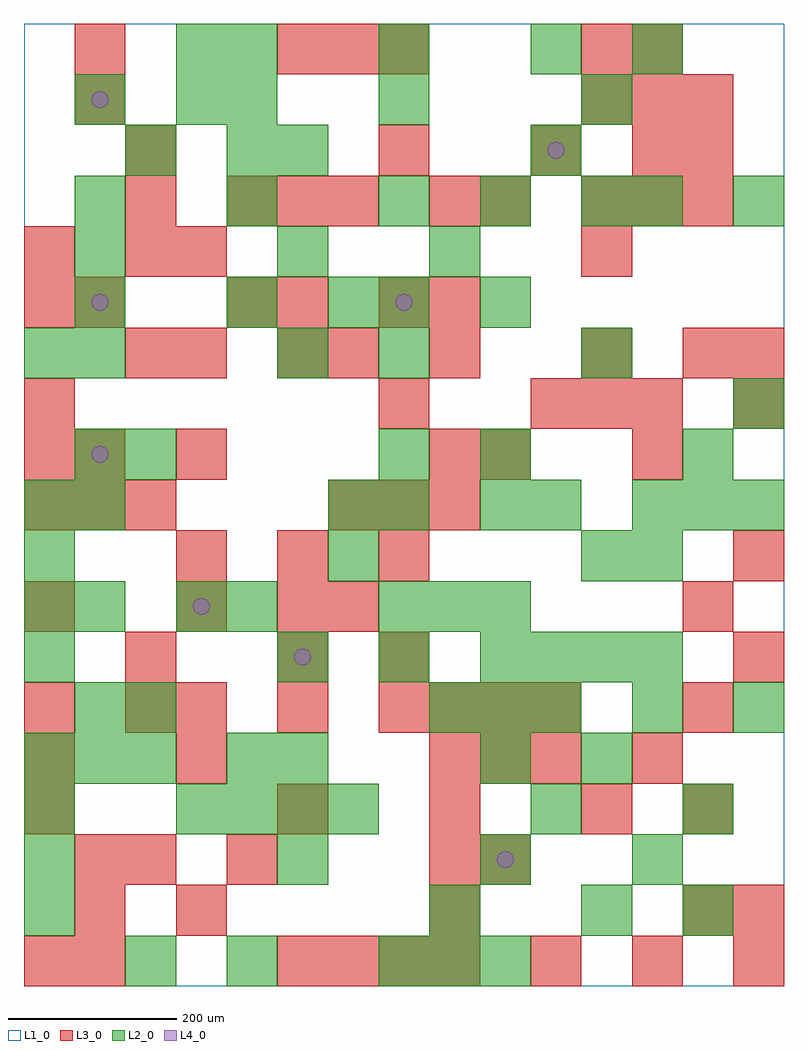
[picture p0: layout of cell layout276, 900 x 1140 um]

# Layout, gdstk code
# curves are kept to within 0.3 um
import gdstk
lib = gdstk.Library(unit=1e-6, precision=1e-09)
def R(c, l, rs):  # rectangles x0, y0, x1, y1
    for r in rs: c.add(gdstk.rectangle(r[:2], r[2:], *l))
def A(c, l, x, y, w, h, nx, ny, dx, dy):  # array of equal rectangles
    R(c, l, [(x+i*dx, y+j*dy, x+i*dx+w, y+j*dy+h) for i in range(nx) for j in range(ny)])
def P(c, l, *ps):  # polygons
    for p in ps: c.add(gdstk.Polygon(p, *l))
L1_0 = (1, 0)
L2_0 = (2, 0)
L3_0 = (3, 0)
L4_0 = (4, 0)

layout276 = lib.new_cell('layout276')
R(layout276, L1_0, [(0,0,900,1140)])
A(layout276, L2_0, 120, 0, 60, 60, 1, 3, 0, 300)
A(layout276, L2_0, 420, 0, 60, 60, 3, 2, 60, 420)
A(layout276, L2_0, 0, 60, 60, 60, 1, 3, 0, 60)
A(layout276, L2_0, 720, 120, 60, 60, 1, 3, 0, 180)
A(layout276, L2_0, 180, 180, 60, 60, 4, 1, 60, 0)
A(layout276, L2_0, 0, 240, 60, 60, 3, 1, 60, 0)
A(layout276, L2_0, 660, 240, 60, 60, 1, 3, 0, 240)
A(layout276, L2_0, 60, 300, 60, 60, 1, 3, 0, 120)
A(layout276, L2_0, 480, 300, 60, 60, 3, 1, 60, 0)
A(layout276, L2_0, 0, 360, 60, 60, 1, 4, 0, 60)
A(layout276, L2_0, 300, 360, 60, 60, 3, 1, 120, 0)
A(layout276, L2_0, 600, 360, 60, 60, 3, 1, 60, 0)
A(layout276, L2_0, 720, 540, 60, 60, 3, 1, 60, 0)
A(layout276, L2_0, 60, 720, 60, 60, 1, 3, 0, 60)
A(layout276, L2_0, 300, 720, 60, 60, 1, 3, 0, 120)
A(layout276, L2_0, 60, 900, 60, 60, 3, 1, 180, 0)
A(layout276, L2_0, 240, 1080, 60, 60, 3, 1, 180, 0)
R(layout276, L2_0, [(240,0,300,60), (480,60,540,120), (660,60,720,120), (780,60,840,120), (300,120,360,180), (540,120,600,180), (600,180,660,240), (780,180,840,240), (240,240,300,300), (300,240,360,300), (540,240,600,300), (840,300,900,360), (180,420,240,480), (240,420,300,480), (360,480,420,540), (360,540,420,600), (420,540,480,600), (540,540,600,600), (600,540,660,600), (60,600,120,660), (420,600,480,660), (540,600,600,660), (780,600,840,660), (840,660,900,720), (0,720,60,780), (420,720,480,780), (240,780,300,840), (360,780,420,840), (420,780,480,840), (540,780,600,840), (480,840,540,900), (540,900,600,960), (660,900,720,960), (720,900,780,960), (840,900,900,960), (120,960,180,1020), (240,960,300,1020), (600,960,660,1020), (60,1020,120,1080), (180,1020,240,1080), (240,1020,300,1080), (420,1020,480,1080), (660,1020,720,1080), (180,1080,240,1140), (720,1080,780,1140)])
A(layout276, L3_0, 60, 0, 60, 60, 1, 3, 0, 60)
A(layout276, L3_0, 300, 0, 60, 60, 4, 1, 60, 0)
A(layout276, L3_0, 600, 0, 60, 60, 3, 1, 120, 0)
A(layout276, L3_0, 180, 60, 60, 60, 3, 1, 300, 0)
A(layout276, L3_0, 0, 180, 60, 60, 1, 3, 0, 60)
A(layout276, L3_0, 300, 180, 60, 60, 3, 1, 180, 0)
A(layout276, L3_0, 780, 180, 60, 60, 1, 3, 0, 120)
A(layout276, L3_0, 180, 240, 60, 60, 1, 3, 0, 180)
A(layout276, L3_0, 480, 240, 60, 60, 3, 2, 60, 60)
A(layout276, L3_0, 720, 240, 60, 60, 1, 3, 0, 360)
A(layout276, L3_0, 180, 300, 60, 60, 3, 2, 120, 180)
A(layout276, L3_0, 0, 540, 60, 60, 3, 1, 60, 0)
A(layout276, L3_0, 360, 540, 60, 60, 3, 1, 60, 0)
A(layout276, L3_0, 600, 660, 60, 60, 3, 1, 60, 0)
A(layout276, L3_0, 120, 840, 60, 60, 1, 3, 0, 60)
A(layout276, L3_0, 240, 900, 60, 60, 3, 1, 60, 0)
A(layout276, L3_0, 660, 900, 60, 60, 3, 2, 60, 120)
A(layout276, L3_0, 300, 1080, 60, 60, 3, 1, 60, 0)
R(layout276, L3_0, [(0,0,60,60), (840,60,900,120), (120,120,180,180), (240,120,300,180), (480,120,540,180), (540,120,600,180), (120,300,180,360), (120,360,180,420), (300,360,360,420), (420,360,480,420), (840,360,900,420), (0,420,60,480), (300,420,360,480), (360,420,420,480), (840,480,900,540), (0,600,60,660), (60,600,120,660), (480,600,540,660), (540,600,600,660), (0,660,60,720), (420,660,480,720), (840,660,900,720), (120,720,180,780), (180,720,240,780), (300,720,360,780), (360,720,420,780), (480,720,540,780), (660,720,720,780), (780,720,840,780), (840,720,900,780), (0,780,60,840), (60,780,120,840), (240,780,300,840), (300,780,360,840), (420,780,480,840), (480,780,540,840), (0,840,60,900), (180,840,240,900), (660,840,720,900), (480,900,540,960), (540,900,600,960), (420,960,480,1020), (600,960,660,1020), (780,960,840,1020), (60,1020,120,1080), (60,1080,120,1140), (660,1080,720,1140), (720,1080,780,1140)])
P(layout276, L4_0, [(100,630),(99.239,633.827),(97.071,637.071),(93.827,639.239),(90,640),(86.173,639.239),(82.929,637.071),(80.761,633.827),(80,630),(80.761,626.173),(82.929,622.929),(86.173,620.761),(90,620),(93.827,620.761),(97.071,622.929),(99.239,626.173)],
  [(100,810),(99.239,813.827),(97.071,817.071),(93.827,819.239),(90,820),(86.173,819.239),(82.929,817.071),(80.761,813.827),(80,810),(80.761,806.173),(82.929,802.929),(86.173,800.761),(90,800),(93.827,800.761),(97.071,802.929),(99.239,806.173)],
  [(100,1050),(99.239,1053.827),(97.071,1057.071),(93.827,1059.239),(90,1060),(86.173,1059.239),(82.929,1057.071),(80.761,1053.827),(80,1050),(80.761,1046.173),(82.929,1042.929),(86.173,1040.761),(90,1040),(93.827,1040.761),(97.071,1042.929),(99.239,1046.173)],
  [(220,450),(219.239,453.827),(217.071,457.071),(213.827,459.239),(210,460),(206.173,459.239),(202.929,457.071),(200.761,453.827),(200,450),(200.761,446.173),(202.929,442.929),(206.173,440.761),(210,440),(213.827,440.761),(217.071,442.929),(219.239,446.173)],
  [(340,390),(339.239,393.827),(337.071,397.071),(333.827,399.239),(330,400),(326.173,399.239),(322.929,397.071),(320.761,393.827),(320,390),(320.761,386.173),(322.929,382.929),(326.173,380.761),(330,380),(333.827,380.761),(337.071,382.929),(339.239,386.173)],
  [(460,810),(459.239,813.827),(457.071,817.071),(453.827,819.239),(450,820),(446.173,819.239),(442.929,817.071),(440.761,813.827),(440,810),(440.761,806.173),(442.929,802.929),(446.173,800.761),(450,800),(453.827,800.761),(457.071,802.929),(459.239,806.173)],
  [(580,150),(579.239,153.827),(577.071,157.071),(573.827,159.239),(570,160),(566.173,159.239),(562.929,157.071),(560.761,153.827),(560,150),(560.761,146.173),(562.929,142.929),(566.173,140.761),(570,140),(573.827,140.761),(577.071,142.929),(579.239,146.173)],
  [(640,990),(639.239,993.827),(637.071,997.071),(633.827,999.239),(630,1000),(626.173,999.239),(622.929,997.071),(620.761,993.827),(620,990),(620.761,986.173),(622.929,982.929),(626.173,980.761),(630,980),(633.827,980.761),(637.071,982.929),(639.239,986.173)])

lib.write_gds('layout276.gds')
